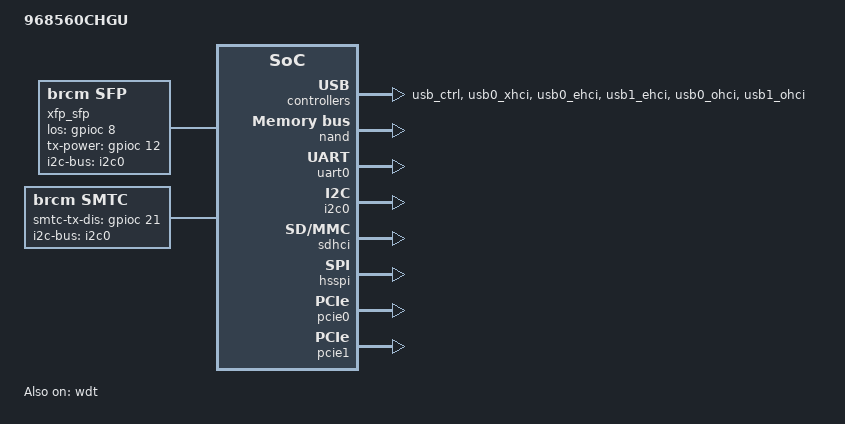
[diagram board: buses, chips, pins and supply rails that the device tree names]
#include "inc/68560.dtsi"
#include "../bcm_voice.dtsi"

/ {
    memory_controller {
        memcfg = <(BP_DDR_SPEED_800_11_11_11  | \
                   BP_DDR_TOTAL_SIZE_512MB    | \
                   BP_DDR_DEVICE_WIDTH_16     | \
                   BP_DDR_TOTAL_WIDTH_16BIT   | \
                   BP_DDR_SSC_CONFIG_1)>;
    };
};

/ {
    model = "968560CHGU";

    xfp_sfp: xfp_sfp {
        compatible = "brcm,sfp";
        pinctrl-names = "default", "tx-sd";
        pinctrl-0 = <&pon_lbe_p_pin_22>;
        pinctrl-1 = <&pon_lbe_p_pin_22 &a_rogue_onu_in_pin_10>;
        i2c-bus = <&i2c0>;
        los-gpio = <&gpioc 8 GPIO_ACTIVE_HIGH>;
        tx-power-gpio = <&gpioc 12 GPIO_ACTIVE_HIGH>;
    };

    smtc {
        compatible = "brcm,smtc";
        smtc-tx-dis-gpio = <&gpioc 21 GPIO_ACTIVE_HIGH>;
        i2c-bus = <&i2c0>;
    };

    wan_serdes {
            compatible = "brcm,pon-drv";
            trx = <&xfp_sfp>;
            pon-led = <&led20>;
            alarm-led = <&led0>;
    };

    buttons {
        compatible = "brcm,buttons";
        reset_button {
            ext_irq = <&bca_extintr 82 BCA_GPIO_ACTIVE_LOW (BCA_EXTINTR_TYPE_LOW_LEVEL | BCA_EXTINTR_TYPE_SENSE_EDGE)>;
            press {
                print = "Button Press -- Hold for 5s to do restore to default";
   	 };
            hold {
                rst_to_dflt = <5>;
            };
            release {
                reset = <0>;
            };	
        };
        ses_button {
            ext_irq = <&bca_extintr 83 BCA_GPIO_ACTIVE_LOW (BCA_EXTINTR_TYPE_LOW_LEVEL | BCA_EXTINTR_TYPE_SENSE_EDGE)>;
            release {
                ses_short_period = <0>;
                ses_long_period = <3>;
            };
        };
    };
};

&usb_ctrl {
    xhci-enable;
	status = "okay";
    pinctrl-names = "default";
    pinctrl-0 = <&usb0_pwr_pins &usb1_pwr_pins>;
};
&usb0_xhci {
    status = "okay";
};
&usb0_ehci {
	status = "okay";
};
&usb1_ehci {
	status = "okay";
};
&usb0_ohci {
	status = "okay";
};
&usb1_ohci {
	status = "okay";
};
&nand {
	status = "okay";
};

&uart0 {
	status = "okay";
};
&wdt {
	status = "okay";
};
&i2c0 {
    pinctrl-0 = <&i2c_scl_pin_20 &i2c_sda_pin_19>;
    pinctrl-names = "default";
    status = "okay";
};
&sdhci {
	status = "okay";
};
&hsspi {
	status = "okay";
};

&pcie0 {
	status = "okay";
};
&pcie1 {
	status = "okay";
};


&mdio {
        phy1:1 {
                status = "okay";
        };

        phy2:2 {
                status = "okay";
        };

        phy3:3 {
                status = "okay";
        };

        phy4:4 {
                status = "okay";
        };
};

&switch0 {
        ports {
                port0@0 {
                        network-leds = <&led3 &led4>;
                        status = "okay";
                };

                port1@1 {
                        network-leds = <&led5 &led6>;
                        status = "okay";
                };

                port2@2 {
                        network-leds = <&led7 &led8>;
                        status = "okay";
                };

                port3@3 {
                        network-leds = <&led9 &led10>;
                        status = "okay";
                };
        };
};

&led_ctrl {
    pinctrl-names = "default";
    pinctrl-0 = <&ser_led_clk_pin_27 &ser_led_data_pin_26 &ser_led_mask_pin_28>;
    serial-shifters-installed = <3>;

    led0: sw_led-bit_0 {
              active_low; 
              label = "OpticalLinkFail";
              status = "okay";
          };
    led1: sw_led-bit_1 {
              active_low; 
              label = "WAN";
              status = "okay";
          };
    led2: sw_led-bit_2 {
              active_low; 
              label = "WiFi";
              status = "okay";
          };
    led3: port_0-led_0-bit_3 {
              active_low;
              link = <LED_SPEED_GBE>;
              status = "okay";
          };
    led4: port_0-led_1-bit_4 {
              active_low;
              activity = <LED_SPEED_GBE>;
              status = "okay";
          };
    led5: port_1-led_0-bit_5 {
              active_low;
              link = <LED_SPEED_GBE>;
              status = "okay";
          };
    led6: port_1-led_1-bit_6 {
              active_low;
              activity = <LED_SPEED_GBE>;
              status = "okay";
          };
    led7: port_2-led_0-bit_7 {
              active_low;
              link = <LED_SPEED_GBE>;
              status = "okay";
          };
    led8: port_2-led_1-bit_8 {
              active_low;
              activity = <LED_SPEED_GBE>;
              status = "okay";
          };
    led9: port_3-led_0-bit_9 {
              active_low;
              link = <LED_SPEED_GBE>;
              status = "okay";
          };
    led10: port_3-led_1-bit_10 {
              active_low;
              activity = <LED_SPEED_GBE>;
              status = "okay";
          };
    led15: sw_led-bit_15 {
              active_low; 
              label = "USB_1";
              status = "okay";
          };
    led16: sw_led-bit_16 {
              active_low; 
              label = "VOIP_1";
              status = "okay";
          };
    led17: sw_led-bit_17 {
              active_low; 
              label = "VOIP_2";
              status = "okay";
          };
    led18: sw_led-bit_18 {
              active_low; 
              status = "okay";
          };
    led19: sw_led-bit_19 {
              active_low; 
              status = "okay";
          };
    led20: sw_led-bit_20 {
              active_low; 
              label = "PON";
              status = "okay";
          };
    led21: sw_led-bit_21 {
              active_low; 
              label = "USB_2";
              status = "okay";
          };
};

&legacy_leds {
    wan-data-led = <&led1>;
    voip1-ok-led = <&led16>;
    voip2-ok-led = <&led17>;
    usb-led = <&led15>;
    wl-sess-led = <&led2>;
};

&bcm_voice{
	sliclist = "NOSLIC", "LE9641_ZSI_BB";
};
